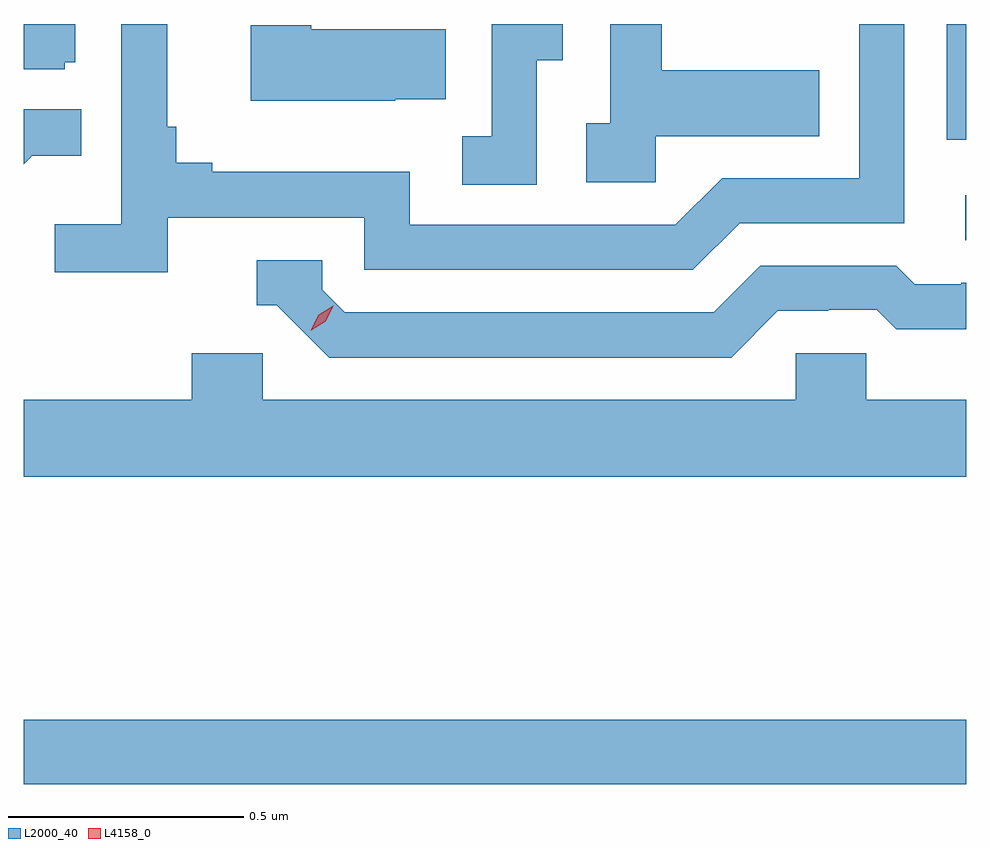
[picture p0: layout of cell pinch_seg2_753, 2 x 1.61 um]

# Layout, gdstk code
import gdstk
lib = gdstk.Library(unit=1e-6, precision=1e-09)
def R(c, l, rs):  # rectangles x0, y0, x1, y1
    for r in rs: c.add(gdstk.rectangle(r[:2], r[2:], *l))
def P(c, l, *ps):  # polygons
    for p in ps: c.add(gdstk.Polygon(p, *l))
L2000_40 = (2000, 40)
L4158_0 = (4158, 0)

pinch_seg2_753 = lib.new_cell('pinch_seg2_753')
R(pinch_seg2_753, L2000_40, [(885.561,652.312,887.561,652.448), (887.559,653.466,887.561,653.562), (887.52,653.679,887.561,653.925)])
P(pinch_seg2_753, L2000_40, [(885.648,653.844),(885.67,653.844),(885.67,653.925),(885.561,653.925),(885.561,653.829),(885.648,653.829)],
  [(886.65,653.848),(886.705,653.848),(886.705,653.925),(886.554,653.925),(886.554,653.687),(886.491,653.687),(886.491,653.584),(886.65,653.584)],
  [(885.866,653.514),(886.284,653.514),(886.284,653.403),(886.981,653.403),(887.08,653.502),(887.43,653.502),(887.43,653.925),(887.334,653.925),(887.334,653.598),(887.043,653.598),(886.944,653.499),(886.38,653.499),(886.38,653.611),(885.961,653.611),(885.961,653.63),(885.884,653.63),(885.884,653.707),(885.865,653.707),(885.865,653.925),(885.768,653.925),(885.768,653.5),(885.627,653.5),(885.627,653.398),(885.866,653.398)],
  [(886.902,653.687),(887.249,653.687),(887.249,653.827),(886.915,653.827),(886.915,653.925),(886.806,653.925),(886.806,653.714),(886.755,653.714),(886.755,653.589),(886.902,653.589)],
  [(886.349,653.765),(886.457,653.765),(886.457,653.914),(886.171,653.914),(886.171,653.922),(886.043,653.922),(886.043,653.762),(886.349,653.762)],
  [(885.579,653.645),(885.683,653.645),(885.683,653.744),(885.561,653.744),(885.561,653.627)],
  [(887.161,653.316),(887.268,653.316),(887.268,653.319),(887.371,653.319),(887.413,653.277),(887.561,653.277),(887.561,653.376),(887.551,653.376),(887.551,653.373),(887.452,653.373),(887.413,653.412),(887.124,653.412),(887.025,653.313),(886.242,653.313),(886.194,653.361),(886.194,653.424),(886.055,653.424),(886.055,653.328),(886.098,653.328),(886.209,653.217),(887.062,653.217)],
  [(887.561,653.128),(887.349,653.128),(887.349,653.226),(887.199,653.226),(887.199,653.128),(886.068,653.128),(886.068,653.226),(885.917,653.226),(885.917,653.128),(885.561,653.128),(885.561,652.964),(887.561,652.964)])
P(pinch_seg2_753, L4158_0, [(886.17,653.275),(886.17,653.275),(886.187,653.308),(886.218,653.327),(886.218,653.327),(886.218,653.327),(886.202,653.294),(886.171,653.275)])

lib.write_gds('pinch_seg2_753.gds')
